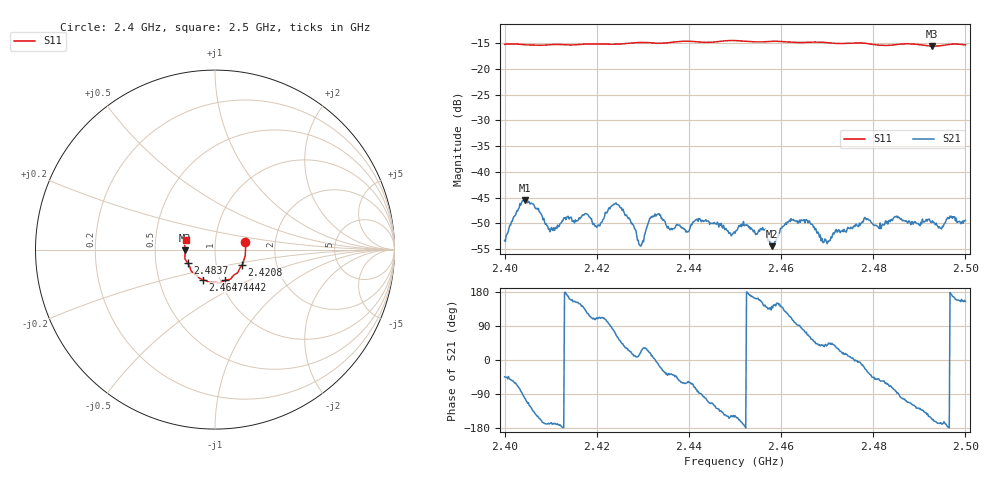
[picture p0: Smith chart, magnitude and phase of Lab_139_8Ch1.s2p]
# Hz S RI R 50
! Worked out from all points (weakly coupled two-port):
!   601 points, 2.4 GHz to 2.5 GHz, reference 50 ohm
!   highest |S21| = -45.48 dB at 2.4043 GHz (marker M1); lowest = -54.4 dB at 2.458 GHz (marker M2)
!   lowest |S11| = -15.6 dB at 2.4928 GHz (marker M3), VSWR 1.40, Z = 35.8 - j0.352 ohm
!   |S11| at or under -10 dB: start of sweep to end of sweep
!   S12 and S22 are empty: the file has one direction only
!   S11 on the Smith chart (normalised r, x): 2.4 GHz: 1.40, +0.12; 2.4208 GHz: 1.33, -0.24; 2.4442 GHz: 1.05, -0.37; 2.4647 GHz: 0.83, -0.29; 2.4837 GHz: 0.73, -0.11; 2.5 GHz: 0.72, +0.08
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2.4e9  0.1676 0.041  0.00155 -0.00151  0 0  0 0
2.404333e9  0.1705 0.0147  -0.000942 -0.00523  0 0  0 0
2.41e9  0.1691 -0.0277  -0.00263 -0.000659  0 0  0 0
2.416667e9  0.1588 -0.0681  -0.00287 0.00224  0 0  0 0
2.420833e9  0.1506 -0.0872  -0.00108 0.00298  0 0  0 0
2.4245e9  0.1378 -0.1052  0.00239 0.00417  0 0  0 0
2.429667e9  0.1254 -0.1292  0.00176 0.00079  0 0  0 0
2.433333e9  0.108 -0.1401  0.00384 -0.000695  0 0  0 0
2.436167e9  0.0937 -0.1541  0.00228 -0.00168  0 0  0 0
2.444167e9  0.0568 -0.1712  -0.00116 -0.00314  0 0  0 0
2.45e9  0.0246 -0.1862  -0.00212 -0.00139  0 0  0 0
2.456167e9  -0.0149 -0.1818  -0.0022 0.00161  0 0  0 0
2.458e9  -0.0255 -0.1827  -0.00149 0.00118  0 0  0 0
2.461333e9  -0.0426 -0.1773  -0.00179 0.00272  0 0  0 0
2.464667e9  -0.0672 -0.167  0.000545 0.00332  0 0  0 0
2.466667e9  -0.08 -0.1627  0.00179 0.00253  0 0  0 0
2.4695e9  -0.0913 -0.1553  0.00173 0.00142  0 0  0 0
2.4785e9  -0.1357 -0.1125  0.00307 -0.00154  0 0  0 0
2.483333e9  -0.1506 -0.0763  0.00138 -0.00302  0 0  0 0
2.483667e9  -0.1523 -0.0734  0.00122 -0.00304  0 0  0 0
2.492833e9  -0.1657 -0.00479  -0.0031 -0.00127  0 0  0 0
2.5e9  -0.1624 0.0526  -0.00307 0.00143  0 0  0 0
